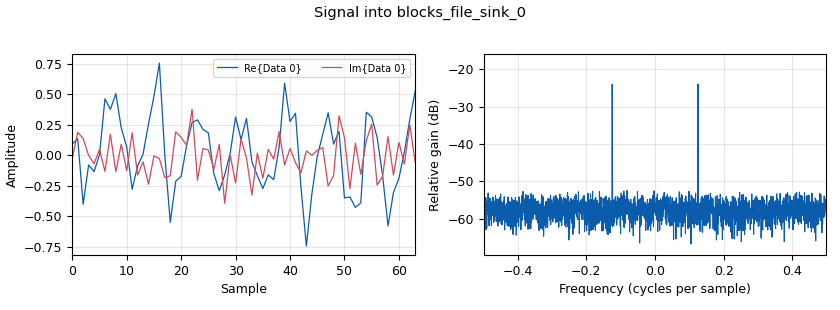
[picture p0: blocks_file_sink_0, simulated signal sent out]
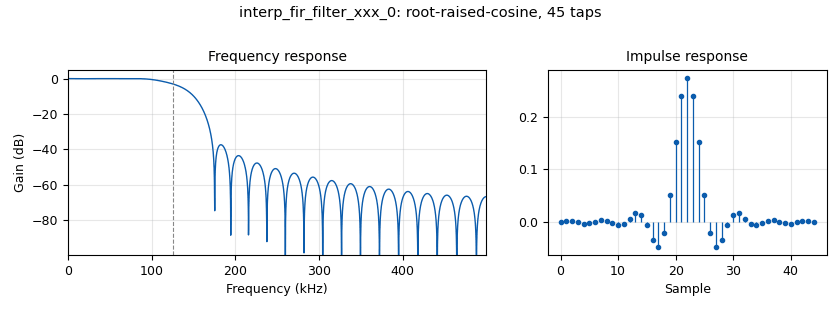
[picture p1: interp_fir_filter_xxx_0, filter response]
options:
  parameters:
    author: shakir
    generate_options: no_gui
    id: modclf_dataset_gen
    output_language: python
    run_options: run
    title: modgen
  states: {}

blocks:
- name: cfo_norm
  id: variable
  parameters:
    value: cfo_hz / samp_rate
  states: {}
- name: noise_volt
  id: variable
  parameters:
    value: (0.5 * 10**(-snr_db/10.0))**0.5
  states: {}
- name: rolloff
  id: variable
  parameters:
    value: '0.35'
  states: {}
- name: samp_rate
  id: variable
  parameters:
    value: 1e6
  states: {}
- name: span
  id: variable
  parameters:
    value: '11'
  states: {}
- name: sps
  id: variable
  parameters:
    value: '4'
  states: {}
- name: analog_random_source_x_0
  id: analog_random_source_x
  parameters:
    max: '1'
    min: '0'
    num_samps: '1000'
    repeat: 'True'
    type: byte
  states: {}
- name: analog_random_source_x_0_0
  id: analog_random_source_x
  parameters:
    max: '3'
    min: '0'
    num_samps: '1000'
    repeat: 'True'
    type: byte
  states: {}
- name: analog_random_source_x_0_0_0
  id: analog_random_source_x
  parameters:
    max: '7'
    min: '0'
    num_samps: '1000'
    repeat: 'True'
    type: byte
  states: {}
- name: analog_random_source_x_0_0_0_0
  id: analog_random_source_x
  parameters:
    max: '15'
    min: '0'
    num_samps: '1000'
    repeat: 'True'
    type: byte
  states: {}
- name: blocks_file_sink_0
  id: blocks_file_sink
  parameters:
    file: out_file
    type: complex
  states: {}
- name: blocks_head_0
  id: blocks_head
  parameters:
    num_items: n_samps
    type: complex
  states: {}
- name: blocks_selector_0
  id: blocks_selector
  parameters:
    enabled: 'True'
    input_index: mod_sel
    num_inputs: '4'
    num_outputs: '1'
    output_index: '0'
    type: complex
  states: {}
- name: blocks_throttle2_0
  id: blocks_throttle2
  parameters:
    samples_per_second: samp_rate
    type: complex
  states: {}
- name: cfo_hz
  id: parameter
  parameters:
    type: eng_float
    value: '0'
  states: {}
- name: channels_channel_model_0
  id: channels_channel_model
  parameters:
    epsilon: '1.0'
    freq_offset: cfo_norm
    noise_voltage: noise_volt
    seed: '0'
    taps: '[1.0+0j]'
  states: {}
- name: digital_chunks_to_symbols_xx_0
  id: digital_chunks_to_symbols_xx
  parameters:
    dimension: '2'
    in_type: byte
    out_type: complex
    symbol_table: '[-1+0j, 1+0j]'
  states: {}
- name: digital_chunks_to_symbols_xx_0_0
  id: digital_chunks_to_symbols_xx
  parameters:
    dimension: '2'
    in_type: byte
    out_type: complex
    symbol_table: '[(1+1j)/np.sqrt(2), (-1+1j)/np.sqrt(2), (-1-1j)/np.sqrt(2), (1-1j)/np.sqrt(2)]'
  states: {}
- name: digital_chunks_to_symbols_xx_0_0_0
  id: digital_chunks_to_symbols_xx
  parameters:
    dimension: '2'
    in_type: byte
    out_type: complex
    symbol_table: '[np.exp(1j*2*np.pi*k/8) for k in range(8)]'
  states: {}
- name: digital_chunks_to_symbols_xx_0_0_0_0
  id: digital_chunks_to_symbols_xx
  parameters:
    dimension: '2'
    in_type: byte
    out_type: complex
    symbol_table: '[(i+1j*q)/np.sqrt(10) for q in [-3,-1,1,3] for i in [-3,-1,1,3]]'
  states: {}
- name: import_0
  id: import
  parameters:
    imports: import numpy as np
  states: {}
- name: import_1
  id: import
  parameters:
    imports: from gnuradio.filter import firdes
  states: {}
- name: interp_fir_filter_xxx_0
  id: interp_fir_filter_xxx
  parameters:
    interp: sps
    taps: |
      firdes.root_raised_cosine(1.0, samp_rate, samp_rate/sps, rolloff, span*sps)
    type: ccc
  states: {}
- name: interp_fir_filter_xxx_0_0
  id: interp_fir_filter_xxx
  parameters:
    interp: sps
    taps: |
      firdes.root_raised_cosine(1.0, samp_rate, samp_rate/sps, rolloff, span*sps)
    type: ccc
  states: {}
- name: interp_fir_filter_xxx_0_0_0
  id: interp_fir_filter_xxx
  parameters:
    interp: sps
    taps: |
      firdes.root_raised_cosine(1.0, samp_rate, samp_rate/sps, rolloff, span*sps)
    type: ccc
  states: {}
- name: interp_fir_filter_xxx_0_0_0_0
  id: interp_fir_filter_xxx
  parameters:
    interp: sps
    taps: |
      firdes.root_raised_cosine(1.0, samp_rate, samp_rate/sps, rolloff, span*sps)
    type: ccc
  states: {}
- name: mod_sel
  id: parameter
  parameters:
    type: intx
    value: '0'
  states: {}
- name: n_samps
  id: parameter
  parameters:
    type: intx
    value: '300000'
  states: {}
- name: out_file
  id: parameter
  parameters:
    type: str
    value: '"/media/shakir/EXT4_1TB/projects/sdr/modclf-gnuradio-ml/data/raw/mod0_snr10_cfo0.c64"'
  states: {}
- name: snr_db
  id: parameter
  parameters:
    type: eng_float
    value: '10'
  states: {}

connections:
- [analog_random_source_x_0, '0', digital_chunks_to_symbols_xx_0, '0']
- [analog_random_source_x_0_0, '0', digital_chunks_to_symbols_xx_0_0, '0']
- [analog_random_source_x_0_0_0, '0', digital_chunks_to_symbols_xx_0_0_0, '0']
- [analog_random_source_x_0_0_0_0, '0', digital_chunks_to_symbols_xx_0_0_0_0, '0']
- [blocks_head_0, '0', blocks_file_sink_0, '0']
- [blocks_selector_0, '0', channels_channel_model_0, '0']
- [blocks_throttle2_0, '0', blocks_head_0, '0']
- [channels_channel_model_0, '0', blocks_throttle2_0, '0']
- [digital_chunks_to_symbols_xx_0, '0', interp_fir_filter_xxx_0, '0']
- [digital_chunks_to_symbols_xx_0_0, '0', interp_fir_filter_xxx_0_0, '0']
- [digital_chunks_to_symbols_xx_0_0_0, '0', interp_fir_filter_xxx_0_0_0, '0']
- [digital_chunks_to_symbols_xx_0_0_0_0, '0', interp_fir_filter_xxx_0_0_0_0, '0']
- [interp_fir_filter_xxx_0, '0', blocks_selector_0, '0']
- [interp_fir_filter_xxx_0_0, '0', blocks_selector_0, '1']
- [interp_fir_filter_xxx_0_0_0, '0', blocks_selector_0, '2']
- [interp_fir_filter_xxx_0_0_0_0, '0', blocks_selector_0, '3']

metadata:
  file_format: 1
  grc_version: 3.10.12.0
